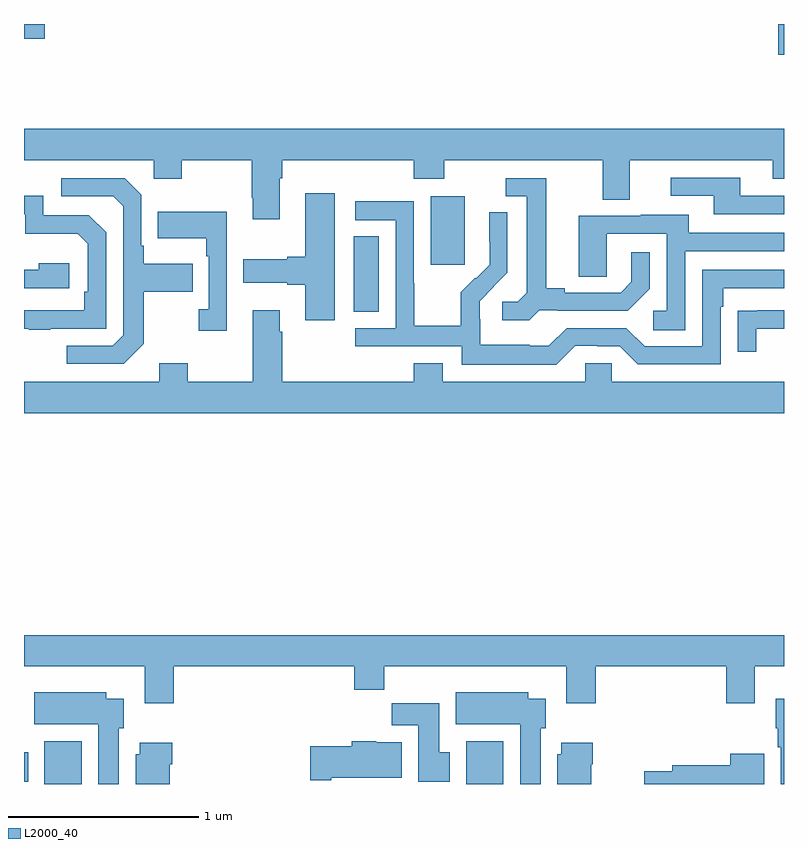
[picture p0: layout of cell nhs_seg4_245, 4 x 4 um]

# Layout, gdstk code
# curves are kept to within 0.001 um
import gdstk
lib = gdstk.Library(unit=1e-6, precision=1e-09)
def R(c, l, rs):  # rectangles x0, y0, x1, y1
    for r in rs: c.add(gdstk.rectangle(r[:2], r[2:], *l))
def P(c, l, *ps):  # polygons
    for p in ps: c.add(gdstk.Polygon(p, *l))
L2000_40 = (2000, 40)

nhs_seg4_245 = lib.new_cell('nhs_seg4_245')
R(nhs_seg4_245, L2000_40, [(123.107,762.9,123.304,763.126), (125.327,762.9,125.523,763.126), (123,762.912,123.022,763.068), (124.736,765.385,124.867,765.782), (125.141,765.633,125.32,765.994), (126.971,766.737,127,766.9), (123,766.822,123.109,766.9)])
P(nhs_seg4_245, L2000_40, [(124.345,766.088),(124.358,766.088),(124.358,766.184),(125.051,766.184),(125.051,766.085),(125.211,766.085),(125.211,766.184),(126.047,766.184),(126.047,765.976),(126.187,765.976),(126.187,766.184),(126.941,766.184),(126.941,766.085),(127,766.085),(127,766.348),(123,766.348),(123,766.184),(123.684,766.184),(123.684,766.085),(123.831,766.085),(123.831,766.184),(124.198,766.184),(124.198,765.985),(124.205,765.985),(124.205,765.873),(124.345,765.873)],
  [(127,765.996),(126.769,765.996),(126.769,766.092),(126.405,766.092),(126.405,765.996),(126.629,765.996),(126.629,765.9),(127,765.9)],
  [(125.712,765.393),(125.806,765.393),(125.806,765.39),(126.178,765.39),(126.294,765.506),(126.294,765.7),(126.197,765.7),(126.197,765.543),(126.14,765.486),(125.845,765.486),(125.845,765.509),(125.749,765.509),(125.749,766.089),(125.535,766.089),(125.535,765.993),(125.645,765.993),(125.645,765.485),(125.598,765.438),(125.517,765.438),(125.517,765.341),(125.66,765.341)],
  [(123.631,765.217),(123.631,765.49),(123.887,765.49),(123.887,765.637),(123.631,765.637),(123.631,765.733),(123.618,765.733),(123.618,766.002),(123.531,766.089),(123.195,766.089),(123.195,765.993),(123.471,765.993),(123.522,765.942),(123.522,765.261),(123.468,765.207),(123.225,765.207),(123.225,765.111),(123.525,765.111)],
  [(124.636,766.009),(124.481,766.009),(124.481,765.674),(124.385,765.674),(124.385,765.661),(124.155,765.661),(124.155,765.539),(124.385,765.539),(124.385,765.527),(124.481,765.527),(124.481,765.342),(124.636,765.342)],
  [(123.137,765.297),(123.432,765.297),(123.432,765.804),(123.342,765.894),(123.102,765.894),(123.102,765.996),(123,765.996),(123,765.9),(123.006,765.9),(123.006,765.797),(123.283,765.797),(123.336,765.744),(123.336,765.49),(123.316,765.49),(123.316,765.393),(123,765.393),(123,765.297),(123.025,765.297),(123.025,765.292),(123.137,765.292)],
  [(125.901,765.207),(126.017,765.207),(126.017,765.204),(126.135,765.204),(126.231,765.108),(126.666,765.108),(126.666,765.413),(126.679,765.413),(126.679,765.51),(127,765.51),(127,765.606),(126.57,765.606),(126.57,765.204),(126.267,765.204),(126.171,765.3),(125.856,765.3),(125.763,765.207),(125.663,765.207),(125.663,765.211),(125.4,765.211),(125.4,765.345),(125.398,765.345),(125.398,765.442),(125.544,765.59),(125.544,765.908),(125.448,765.908),(125.448,765.754),(125.45,765.754),(125.45,765.632),(125.379,765.561),(125.376,765.564),(125.299,765.487),(125.299,765.313),(125.055,765.313),(125.055,765.536),(125.052,765.536),(125.052,765.966),(124.743,765.966),(124.743,765.867),(124.956,765.867),(124.956,765.3),(124.743,765.3),(124.743,765.204),(125.304,765.204),(125.304,765.107),(125.801,765.107)],
  [(124.068,765.913),(123.703,765.913),(123.703,765.773),(123.96,765.773),(123.96,765.677),(123.972,765.677),(123.972,765.398),(123.921,765.398),(123.921,765.285),(124.068,765.285)],
  [(126.48,765.705),(127,765.705),(127,765.801),(126.499,765.801),(126.499,765.895),(126.245,765.895),(126.245,765.891),(125.921,765.891),(125.921,765.571),(126.066,765.571),(126.066,765.795),(126.384,765.795),(126.384,765.39),(126.312,765.39),(126.312,765.289),(126.48,765.289)],
  [(123.238,765.64),(123.077,765.64),(123.077,765.606),(123,765.606),(123,765.51),(123.238,765.51)],
  [(127,765.016),(126.093,765.016),(126.093,765.114),(125.955,765.114),(125.955,765.016),(125.203,765.016),(125.203,765.115),(125.051,765.115),(125.051,765.016),(124.358,765.016),(124.358,765.281),(124.345,765.281),(124.345,765.394),(124.205,765.394),(124.205,765.016),(123.861,765.016),(123.861,765.115),(123.713,765.115),(123.713,765.016),(123,765.016),(123,764.852),(127,764.852)],
  [(126.853,765.297),(127,765.297),(127,765.393),(126.859,765.393),(126.859,765.392),(126.757,765.392),(126.757,765.174),(126.853,765.174)],
  [(123.788,763.52),(124.739,763.52),(124.739,763.396),(124.895,763.396),(124.895,763.52),(125.855,763.52),(125.855,763.326),(126.008,763.326),(126.008,763.52),(126.695,763.52),(126.695,763.326),(126.847,763.326),(126.847,763.52),(127,763.52),(127,763.684),(123,763.684),(123,763.52),(123.635,763.52),(123.635,763.326),(123.788,763.326)],
  [(125.719,763.194),(125.746,763.194),(125.746,763.348),(125.653,763.348),(125.653,763.384),(125.273,763.384),(125.273,763.214),(125.612,763.214),(125.612,762.9),(125.719,762.9)],
  [(123.499,763.194),(123.526,763.194),(123.526,763.348),(123.433,763.348),(123.433,763.384),(123.053,763.384),(123.053,763.214),(123.392,763.214),(123.392,762.9),(123.499,762.9)],
  [(127,763.348),(126.956,763.348),(126.956,763.194),(126.968,763.194),(126.968,763.094),(126.983,763.094),(126.983,762.9),(127,762.9)],
  [(125.242,763.068),(125.185,763.068),(125.185,763.326),(124.936,763.326),(124.936,763.208),(125.075,763.208),(125.075,762.912),(125.242,762.912)],
  [(124.618,762.932),(124.987,762.932),(124.987,763.12),(124.854,763.12),(124.854,763.126),(124.724,763.126),(124.724,763.098),(124.506,763.098),(124.506,762.92),(124.618,762.92)],
  [(125.986,763.004),(125.994,763.004),(125.994,763.117),(125.828,763.117),(125.828,763.056),(125.807,763.056),(125.807,762.9),(125.986,762.9)],
  [(123.766,763.004),(123.779,763.004),(123.779,763.117),(123.608,763.117),(123.608,763.056),(123.587,763.056),(123.587,762.9),(123.766,762.9)],
  [(126.895,763.06),(126.716,763.06),(126.716,762.998),(126.413,762.998),(126.413,762.968),(126.264,762.968),(126.264,762.9),(126.895,762.9)])

lib.write_gds('nhs_seg4_245.gds')
